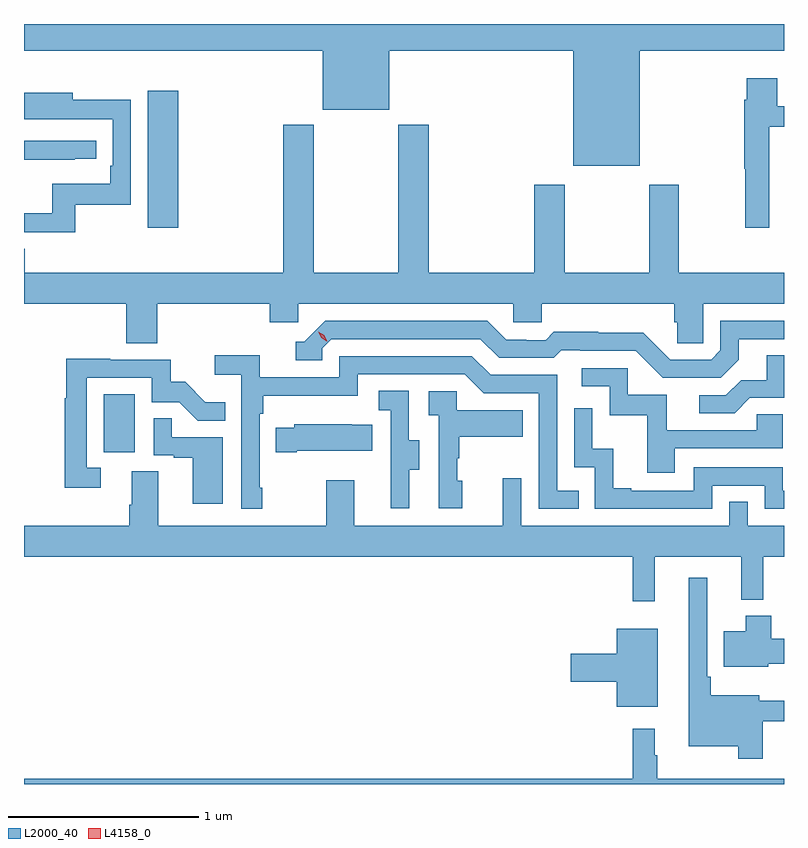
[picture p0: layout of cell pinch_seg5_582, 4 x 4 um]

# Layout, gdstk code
import gdstk
lib = gdstk.Library(unit=1e-6, precision=1e-09)
def R(c, l, rs):  # rectangles x0, y0, x1, y1
    for r in rs: c.add(gdstk.rectangle(r[:2], r[2:], *l))
def P(c, l, *ps):  # polygons
    for p in ps: c.add(gdstk.Polygon(p, *l))
L2000_40 = (2000, 40)
L4158_0 = (4158, 0)

pinch_seg5_582 = lib.new_cell('pinch_seg5_582')
R(pinch_seg5_582, L2000_40, [(1130.132,862.638,1130.296,862.945), (1130.363,863.82,1130.524,864.541)])
P(pinch_seg5_582, L2000_40, [(1132.954,864.752),(1133.712,864.752),(1133.712,864.893),(1129.712,864.893),(1129.712,864.752),(1131.284,864.752),(1131.284,864.443),(1131.634,864.443),(1131.634,864.752),(1132.604,864.752),(1132.604,864.146),(1132.954,864.146)],
  [(1133.635,864.351),(1133.712,864.351),(1133.712,864.46),(1133.677,864.46),(1133.677,864.607),(1133.516,864.607),(1133.516,864.494),(1133.504,864.494),(1133.504,864.132),(1133.509,864.132),(1133.509,863.82),(1133.635,863.82)],
  [(1129.981,863.943),(1130.274,863.943),(1130.274,864.494),(1129.969,864.494),(1129.969,864.532),(1129.712,864.532),(1129.712,864.392),(1129.865,864.392),(1129.865,864.393),(1130.178,864.393),(1130.178,864.148),(1130.165,864.148),(1130.165,864.052),(1129.86,864.052),(1129.86,863.897),(1129.712,863.897),(1129.712,863.796),(1129.981,863.796)],
  [(1130.414,863.42),(1131.005,863.42),(1131.005,863.322),(1131.156,863.322),(1131.156,863.42),(1132.287,863.42),(1132.287,863.322),(1132.437,863.322),(1132.437,863.42),(1133.135,863.42),(1133.135,863.322),(1133.149,863.322),(1133.149,863.212),(1133.286,863.212),(1133.286,863.42),(1133.712,863.42),(1133.712,863.584),(1133.157,863.584),(1133.157,864.046),(1133.002,864.046),(1133.002,863.584),(1132.557,863.584),(1132.557,864.046),(1132.397,864.046),(1132.397,863.584),(1131.842,863.584),(1131.842,864.364),(1131.682,864.364),(1131.682,863.584),(1131.237,863.584),(1131.237,864.364),(1131.077,864.364),(1131.077,863.584),(1129.715,863.584),(1129.715,863.711),(1129.712,863.711),(1129.712,863.42),(1130.249,863.42),(1130.249,863.212),(1130.414,863.212)],
  [(1129.979,864.183),(1130.092,864.183),(1130.092,864.279),(1129.712,864.279),(1129.712,864.178),(1129.979,864.178)],
  [(1133.473,863.125),(1133.473,863.235),(1133.712,863.235),(1133.712,863.331),(1133.376,863.331),(1133.376,863.175),(1133.328,863.127),(1133.112,863.127),(1132.97,863.269),(1132.734,863.269),(1132.734,863.272),(1132.501,863.272),(1132.459,863.229),(1132.356,863.229),(1132.356,863.232),(1132.249,863.232),(1132.15,863.331),(1131.297,863.331),(1131.186,863.22),(1131.143,863.22),(1131.143,863.124),(1131.282,863.124),(1131.282,863.187),(1131.33,863.235),(1132.113,863.235),(1132.212,863.136),(1132.501,863.136),(1132.54,863.175),(1132.639,863.175),(1132.639,863.172),(1132.932,863.172),(1133.073,863.031),(1133.379,863.031)],
  [(1133.533,862.926),(1133.712,862.926),(1133.712,863.15),(1133.621,863.15),(1133.621,863.018),(1133.486,863.018),(1133.406,862.938),(1133.265,862.938),(1133.265,862.845),(1133.452,862.845)],
  [(1130.965,862.453),(1130.952,862.453),(1130.952,862.841),(1130.972,862.841),(1130.972,862.937),(1131.468,862.937),(1131.468,863.049),(1132.032,863.049),(1132.131,862.95),(1132.422,862.95),(1132.422,862.341),(1132.631,862.341),(1132.631,862.437),(1132.518,862.437),(1132.518,863.046),(1132.168,863.046),(1132.069,863.145),(1131.372,863.145),(1131.372,863.034),(1130.954,863.034),(1130.954,863.15),(1130.715,863.15),(1130.715,863.048),(1130.856,863.048),(1130.856,862.341),(1130.965,862.341)],
  [(1130.116,862.557),(1130.043,862.557),(1130.043,863.031),(1130.385,863.031),(1130.385,862.902),(1130.529,862.902),(1130.627,862.804),(1130.771,862.804),(1130.771,862.903),(1130.667,862.903),(1130.56,863.01),(1130.484,863.01),(1130.484,863.127),(1130.165,863.127),(1130.165,863.132),(1129.935,863.132),(1129.935,862.924),(1129.927,862.924),(1129.927,862.452),(1130.116,862.452)],
  [(1133.137,862.659),(1133.706,862.659),(1133.706,862.839),(1133.569,862.839),(1133.569,862.755),(1133.095,862.755),(1133.095,862.941),(1132.89,862.941),(1132.89,863.082),(1132.647,863.082),(1132.647,862.986),(1132.794,862.986),(1132.794,862.833),(1132.993,862.833),(1132.993,862.53),(1133.137,862.53)],
  [(1131.739,862.546),(1131.793,862.546),(1131.793,862.701),(1131.738,862.701),(1131.738,862.964),(1131.579,862.964),(1131.579,862.861),(1131.642,862.861),(1131.642,862.557),(1131.641,862.557),(1131.641,862.344),(1131.739,862.344)],
  [(1132.018,862.488),(1131.993,862.488),(1131.993,862.607),(1132.003,862.607),(1132.003,862.721),(1132.337,862.721),(1132.337,862.861),(1131.99,862.861),(1131.99,862.959),(1131.843,862.959),(1131.843,862.835),(1131.894,862.835),(1131.894,862.344),(1132.018,862.344)],
  [(1133.334,862.464),(1133.61,862.464),(1133.61,862.341),(1133.712,862.341),(1133.712,862.437),(1133.706,862.437),(1133.706,862.56),(1133.238,862.56),(1133.238,862.437),(1132.909,862.437),(1132.909,862.45),(1132.814,862.45),(1132.814,862.658),(1132.704,862.658),(1132.704,862.87),(1132.608,862.87),(1132.608,862.56),(1132.716,862.56),(1132.716,862.341),(1133.334,862.341)],
  [(1130.758,862.719),(1130.489,862.719),(1130.489,862.817),(1130.394,862.817),(1130.394,862.623),(1130.501,862.623),(1130.501,862.611),(1130.6,862.611),(1130.6,862.368),(1130.758,862.368)],
  [(1131.148,862.646),(1131.545,862.646),(1131.545,862.783),(1131.437,862.783),(1131.437,862.786),(1131.135,862.786),(1131.135,862.768),(1131.037,862.768),(1131.037,862.639),(1131.148,862.639)],
  [(1133.033,862.088),(1133.486,862.088),(1133.486,861.863),(1133.603,861.863),(1133.603,862.088),(1133.712,862.088),(1133.712,862.252),(1133.52,862.252),(1133.52,862.379),(1133.424,862.379),(1133.424,862.252),(1132.329,862.252),(1132.329,862.501),(1132.232,862.501),(1132.232,862.252),(1131.451,862.252),(1131.451,862.492),(1131.304,862.492),(1131.304,862.252),(1130.419,862.252),(1130.419,862.538),(1130.279,862.538),(1130.279,862.364),(1130.267,862.364),(1130.267,862.252),(1129.712,862.252),(1129.712,862.088),(1132.915,862.088),(1132.915,861.855),(1133.033,861.855)],
  [(1133.6,861.222),(1133.712,861.222),(1133.712,861.332),(1133.581,861.332),(1133.581,861.361),(1133.327,861.361),(1133.327,861.457),(1133.307,861.457),(1133.307,861.979),(1133.21,861.979),(1133.21,861.092),(1133.472,861.092),(1133.472,861.027),(1133.6,861.027)],
  [(1133.628,861.527),(1133.712,861.527),(1133.712,861.657),(1133.645,861.657),(1133.645,861.778),(1133.51,861.778),(1133.51,861.697),(1133.396,861.697),(1133.396,861.509),(1133.628,861.509)],
  [(1133.047,861.709),(1132.832,861.709),(1132.832,861.578),(1132.59,861.578),(1132.59,861.431),(1132.832,861.431),(1132.832,861.299),(1133.047,861.299)],
  [(1133.712,860.92),(1133.044,860.92),(1133.044,861.044),(1133.032,861.044),(1133.032,861.184),(1132.915,861.184),(1132.915,860.92),(1129.712,860.92),(1129.712,860.893),(1133.712,860.893)])
P(pinch_seg5_582, L4158_0, [(1131.306,863.222),(1131.276,863.241),(1131.26,863.274),(1131.26,863.274),(1131.26,863.274),(1131.291,863.255),(1131.307,863.222),(1131.307,863.222)])

lib.write_gds('pinch_seg5_582.gds')
